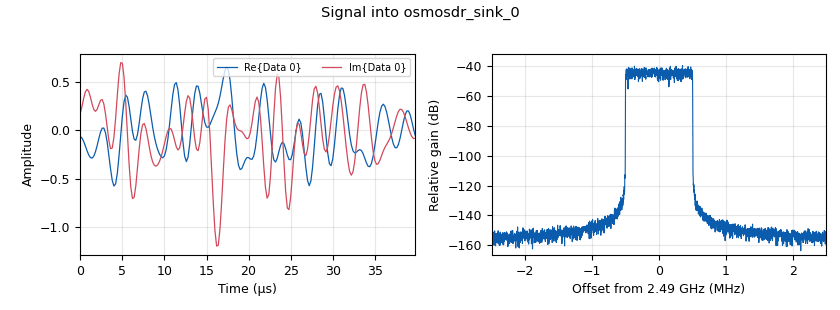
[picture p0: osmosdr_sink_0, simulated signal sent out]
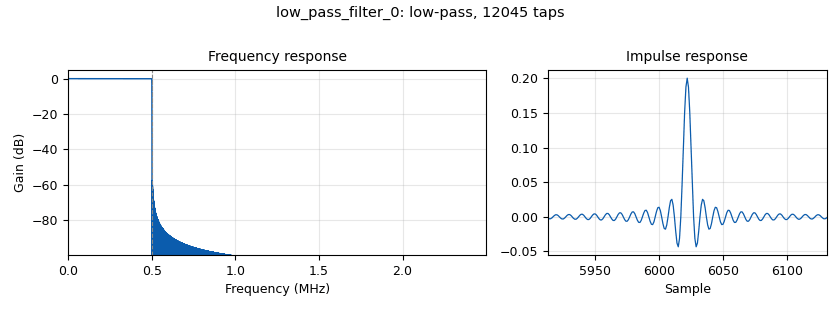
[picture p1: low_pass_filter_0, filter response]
<?xml version='1.0' encoding='utf-8'?>
<?grc format='1' created='3.7.10'?>
<flow_graph>
<block>
<key>options</key>
<param><key>id</key><value>top_block</value></param>
<param><key>generate_options</key><value>qt_gui</value></param>
</block>
<block>
<key>variable_qtgui_range</key>
<param><key>id</key><value>cutoff</value></param>
<param><key>value</key><value>.2</value></param>
<param><key>orient</key><value>Qt.Horizontal</value></param>
<param><key>start</key><value>0</value></param>
<param><key>step</key><value>.01</value></param>
<param><key>stop</key><value>1</value></param>
</block>
<block>
<key>variable_qtgui_range</key>
<param><key>id</key><value>f</value></param>
<param><key>value</key><value>2.49e9</value></param>
<param><key>orient</key><value>Qt.Horizontal</value></param>
<param><key>start</key><value>2.48e9</value></param>
<param><key>step</key><value>1e3</value></param>
<param><key>stop</key><value>2.5e9</value></param>
</block>
<block>
<key>variable_qtgui_range</key>
<param><key>id</key><value>gain</value></param>
<param><key>value</key><value>10</value></param>
<param><key>orient</key><value>Qt.Horizontal</value></param>
<param><key>start</key><value>0</value></param>
<param><key>step</key><value>1</value></param>
<param><key>stop</key><value>100</value></param>
</block>
<block>
<key>variable_qtgui_range</key>
<param><key>id</key><value>pre_gain</value></param>
<param><key>value</key><value>1</value></param>
<param><key>orient</key><value>Qt.Horizontal</value></param>
<param><key>start</key><value>0</value></param>
<param><key>step</key><value>.01</value></param>
<param><key>stop</key><value>10</value></param>
</block>
<block>
<key>variable</key>
<param><key>id</key><value>samp_rate</value></param>
<param><key>value</key><value>5e6</value></param>
</block>
<block>
<key>analog_noise_source_x</key>
<param><key>id</key><value>analog_noise_source_x_0</value></param>
<param><key>amp</key><value>1</value></param>
<param><key>noise_type</key><value>analog.GR_GAUSSIAN</value></param>
<param><key>type</key><value>complex</value></param>
<param><key>seed</key><value>0</value></param>
</block>
<block>
<key>low_pass_filter</key>
<param><key>id</key><value>low_pass_filter_0</value></param>
<param><key>cutoff_freq</key><value>(cutoff*samp_rate)/2</value></param>
<param><key>decim</key><value>1</value></param>
<param><key>type</key><value>fir_filter_ccf</value></param>
<param><key>gain</key><value>1</value></param>
<param><key>samp_rate</key><value>samp_rate</value></param>
<param><key>width</key><value>1e3</value></param>
<param><key>win</key><value>firdes.WIN_HAMMING</value></param>
</block>
<block>
<key>blocks_multiply_const_vxx</key>
<param><key>id</key><value>multiply_constant_0</value></param>
<param><key>const</key><value>pre_gain</value></param>
<param><key>type</key><value>complex</value></param>
</block>
<block>
<key>osmosdr_sink</key>
<param><key>id</key><value>osmosdr_sink_0</value></param>
<param><key>bb_gain0</key><value>gain</value></param>
<param><key>freq0</key><value>f</value></param>
<param><key>if_gain0</key><value>gain</value></param>
<param><key>gain0</key><value>gain</value></param>
<param><key>args</key><value></value></param>
<param><key>type</key><value>fc32</value></param>
<param><key>sample_rate</key><value>samp_rate</value></param>
<param><key>sync</key><value></value></param>
</block>
<connection><source_block_id>analog_noise_source_x_0</source_block_id><sink_block_id>low_pass_filter_0</sink_block_id><source_key>0</source_key><sink_key>0</sink_key></connection>
<connection><source_block_id>low_pass_filter_0</source_block_id><sink_block_id>multiply_constant_0</sink_block_id><source_key>0</source_key><sink_key>0</sink_key></connection>
<connection><source_block_id>multiply_constant_0</source_block_id><sink_block_id>osmosdr_sink_0</sink_block_id><source_key>0</source_key><sink_key>0</sink_key></connection>
</flow_graph>
